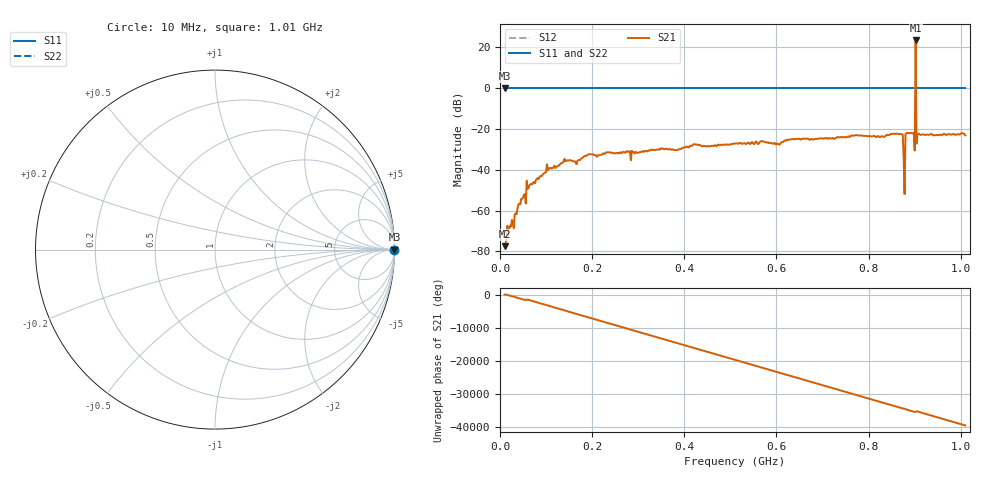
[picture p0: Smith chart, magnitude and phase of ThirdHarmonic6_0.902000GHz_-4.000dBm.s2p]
! 8/16/2025 5:34:13 AM
! C:\ANRITSUVNA\TEMP\TEMP.S2P
! CHANNEL.1
! TR.MEASUREMENT
! RAW.DATA
! RF.CORRECTION.OFF
! AVERAGING.OFF
! IF.BANDWIDTH: 5KHZ
! SWEEPTYPE:  FREQ.SWEEP(Linear)
! Reference Plane Port Info
! PORT:  PORT1  PORT2
! DISTANCE:  0  m  0  m
! TIME:  0  s  0  s
! PHASE.OFFSET:  0  deg.  0  deg.
! LOSS:  0  dB  0  dB
! REF.LOSS:  0  dB  0  dB
! REF.FREQ:  0  Hz  0  Hz
! Power Info
! POWER:  -20  dBm  -20  dBm
! EFF.POWER:  -20  dBm  -20  dBm
! SOURCE.ATTEN:  0  dB  0  dB
! TEST.ATTEN:  0  dB  0  dB
# GHZ S RI R 50.0
! FREQ.GHZ  S11RE  S11IM  S21RE  S21IM  S12RE  S12IM  S22RE  S22IM
!; PortSelection: Port_12
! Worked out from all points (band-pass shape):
!   501 points, 10 MHz to 1.01 GHz, reference 50 ohm
!   highest |S21| = 23.42 dB at 902 MHz (marker M1); lowest = -77.4 dB at 10 MHz (marker M2)
!   |S21| within 3 dB of the highest: 901.8888 MHz to 902.1187 MHz (229.9 kHz wide, 0.0255 % of centre)
!   lowest |S11| = 0.0 dB at 10 MHz (marker M3)
!   |S11| at or under -10 dB: nowhere
!   |S22| runs from 0.0 to 0.0 dB; largest |S21 - S12| = 14
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0.01  1 0  0.000121 -5.78e-05  1 0  1 0
0.02  1 0  -0.000114 0.000347  1 0  1 0
0.062  1 0  -0.00279 -0.00217  1 0  1 0
0.106  1 0  -0.00758 -0.00764  1 0  1 0
0.178  1 0  -0.0187 -0.0052  1 0  1 0
0.344  1 0  0.0313 -0.00483  1 0  1 0
0.51  1 0  -0.0426 0.0119  1 0  1 0
0.678  1 0  -0.0184 -0.0521  1 0  1 0
0.844  1 0  0.0397 0.0587  1 0  1 0
0.87  1 0  0.00657 0.0756  1 0  1 0
0.872  1 0  0.0743 0.00548  1 0  1 0
0.874  1 0  0.0215 -0.07  1 0  1 0
0.88  1 0  0.0546 0.0515  1 0  1 0
0.882  1 0  0.0634 -0.0464  1 0  1 0
0.884  1 0  -0.0387 -0.0713  1 0  1 0
0.894  1 0  -0.0765 -0.0181  1 0  1 0
0.896  1 0  -0.0334 0.0712  1 0  1 0
0.898  1 0  0.0678 0.0445  1 0  1 0
0.902  1 0  14.83 -0.2074  1 0  1 0
0.906  1 0  0.0237 0.0711  1 0  1 0
0.908  1 0  0.0749 -0.0141  1 0  1 0
1.01  1 0  -0.0652 -0.0261  1 0  1 0
